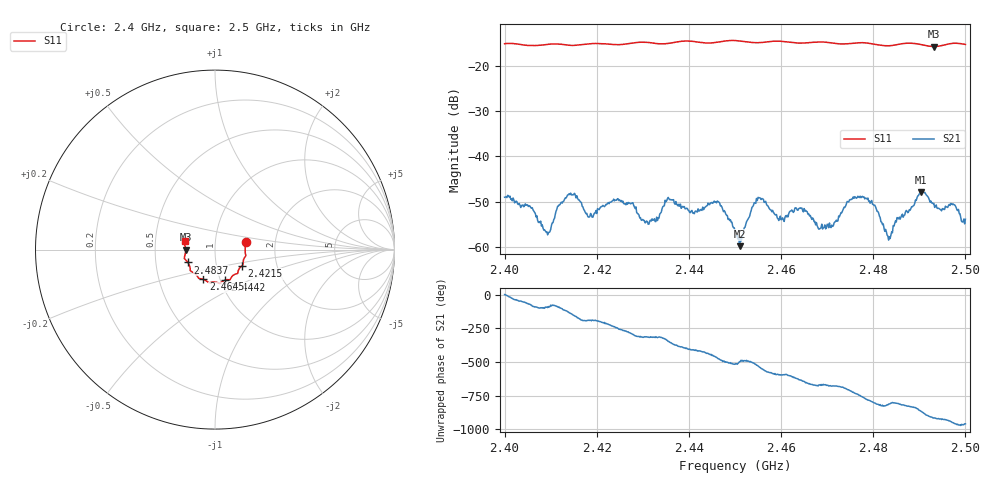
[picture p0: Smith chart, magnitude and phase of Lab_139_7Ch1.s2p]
# Hz S RI R 50
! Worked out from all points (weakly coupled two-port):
!   601 points, 2.4 GHz to 2.5 GHz, reference 50 ohm
!   highest |S21| = -47.90 dB at 2.4903 GHz (marker M1); lowest = -59.9 dB at 2.451 GHz (marker M2)
!   lowest |S11| = -15.7 dB at 2.4932 GHz (marker M3), VSWR 1.39, Z = 35.9 - j0.0633 ohm
!   |S11| at or under -10 dB: start of sweep to end of sweep
!   S12 and S22 are empty: the file has one direction only
!   S11 on the Smith chart (normalised r, x): 2.4 GHz: 1.41, +0.12; 2.4215 GHz: 1.33, -0.25; 2.4442 GHz: 1.05, -0.37; 2.4645 GHz: 0.83, -0.29; 2.4837 GHz: 0.73, -0.11; 2.5 GHz: 0.71, +0.07
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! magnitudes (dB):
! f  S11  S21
! 2.4 GHz  -15.1  -49.0
! 2.4093 GHz  -15.2  -57.3
! 2.4138 GHz  -15.4  -48.5
! 2.4167 GHz  -15.3  -50.2
! 2.4215 GHz  -15.1  -51.0
! 2.4333 GHz  -15.1  -53.7
! 2.4353 GHz  -15.1  -49.4
! 2.4442 GHz  -15.0  -50.3
! 2.4467 GHz  -14.7  -50.3
! 2.45 GHz  -14.4  -56.6
! 2.451 GHz  -14.5  -59.9
! 2.4552 GHz  -14.9  -49.1
! 2.4597 GHz  -14.5  -53.8
! 2.4645 GHz  -15.0  -51.4
! 2.4667 GHz  -14.8  -53.9
! 2.4708 GHz  -14.9  -55.8
! 2.4775 GHz  -14.9  -48.9
! 2.4833 GHz  -15.6  -58.5
! 2.4837 GHz  -15.5  -58.2
! 2.4903 GHz  -15.3  -47.9
! 2.4932 GHz  -15.7  -50.4
! 2.5 GHz  -15.3  -53.9
